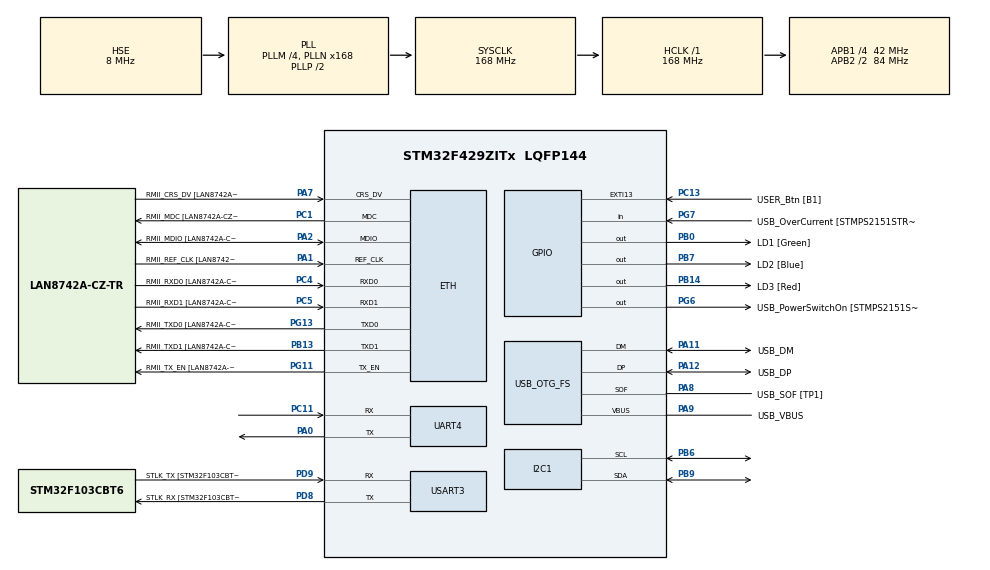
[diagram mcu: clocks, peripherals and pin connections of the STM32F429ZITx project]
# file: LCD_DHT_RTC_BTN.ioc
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ETH.MediaInterface=HAL_ETH_RMII_MODE
ETH.PHY_Name=LAN8742A_PHY_ADDRESS
ETH.PHY_Value=0
ETH.PhyAddress=0
FREERTOS.Tasks01=defaultTask,24,128,StartDefaultTask,Default,NULL,Dynamic,NULL,NULL
FREERTOS.configUSE_NEWLIB_REENTRANT=1
Mcu.Family=STM32F4
Mcu.Name=STM32F429ZITx
Mcu.Package=LQFP144
NVIC.EXTI15_10_IRQn=true\:6\:0\:true\:false\:true\:true\:true\:true\:true
NVIC.PriorityGroup=NVIC_PRIORITYGROUP_4
NVIC.TIM6_DAC_IRQn=true\:15\:0\:false\:false\:true\:false\:false\:true\:true
NVIC.TimeBase=TIM6_DAC_IRQn
NVIC.TimeBaseIP=TIM6
NVIC.UART4_IRQn=true\:5\:0\:false\:false\:true\:true\:true\:true\:true
PA0/WKUP.Mode=Asynchronous
PA0/WKUP.Signal=UART4_TX
PA1.GPIO_Label=RMII_REF_CLK [LAN8742A-CZ-TR_REFCLK0]
PA1.Mode=RMII
PA1.Signal=ETH_REF_CLK
PA10.GPIO_Label=USB_ID
PA10.Signal=USB_OTG_FS_ID
PA11.GPIO_Label=USB_DM
PA11.Mode=Device_Only
PA11.Signal=USB_OTG_FS_DM
PA12.GPIO_Label=USB_DP
PA12.Mode=Device_Only
PA12.Signal=USB_OTG_FS_DP
PA13.GPIO_Label=TMS
PA13.Mode=Serial_Wire
PA13.Signal=SYS_JTMS-SWDIO
PA14.GPIO_Label=TCK
PA14.Mode=Serial_Wire
PA14.Signal=SYS_JTCK-SWCLK
PA2.GPIO_Label=RMII_MDIO [LAN8742A-CZ-TR_MDIO]
PA2.Mode=RMII
PA2.Signal=ETH_MDIO
PA7.GPIO_Label=RMII_CRS_DV [LAN8742A-CZ-TR_CRS_DV]
PA7.Mode=RMII
PA7.Signal=ETH_CRS_DV
PA8.GPIO_Label=USB_SOF [TP1]
PA8.Mode=Activate_SOF_FS
PA8.Signal=USB_OTG_FS_SOF
PA9.GPIO_Label=USB_VBUS
PA9.Mode=Activate_VBUS
PA9.Signal=USB_OTG_FS_VBUS
PB0.GPIO_Label=LD1 [Green]
PB0.Signal=GPIO_Output
PB13.GPIO_Label=RMII_TXD1 [LAN8742A-CZ-TR_TXD1]
PB13.Mode=RMII
PB13.Signal=ETH_TXD1
PB14.GPIO_Label=LD3 [Red]
PB14.Signal=GPIO_Output
PB6.GPIO_Pu=GPIO_PULLUP
PB6.Mode=I2C
PB6.Signal=I2C1_SCL
PB7.GPIO_Label=LD2 [Blue]
PB7.Signal=GPIO_Output
PB9.GPIO_Pu=GPIO_PULLUP
PB9.Mode=I2C
PB9.Signal=I2C1_SDA
PC1.GPIO_Label=RMII_MDC [LAN8742A-CZ-TR_MDC]
PC1.Mode=RMII
PC1.Signal=ETH_MDC
PC11.Mode=Asynchronous
PC11.Signal=UART4_RX
PC13.GPIO_Label=USER_Btn [B1]
PC13.Signal=GPXTI13
PC14/OSC32_IN.Mode=LSE-External-Oscillator
PC14/OSC32_IN.Signal=RCC_OSC32_IN
PC15/OSC32_OUT.Mode=LSE-External-Oscillator
PC15/OSC32_OUT.Signal=RCC_OSC32_OUT
PC4.GPIO_Label=RMII_RXD0 [LAN8742A-CZ-TR_RXD0]
PC4.Mode=RMII
PC4.Signal=ETH_RXD0
PC5.GPIO_Label=RMII_RXD1 [LAN8742A-CZ-TR_RXD1]
PC5.Mode=RMII
PC5.Signal=ETH_RXD1
PD8.GPIO_Label=STLK_RX [STM32F103CBT6_PA3]
PD8.Mode=Asynchronous
PD8.Signal=USART3_TX
PD9.GPIO_Label=STLK_TX [STM32F103CBT6_PA2]
PD9.Mode=Asynchronous
PD9.Signal=USART3_RX
PG11.GPIO_Label=RMII_TX_EN [LAN8742A-CZ-TR_TXEN]
PG11.Mode=RMII
PG11.Signal=ETH_TX_EN
PG13.GPIO_Label=RMII_TXD0 [LAN8742A-CZ-TR_TXD0]
PG13.Mode=RMII
PG13.Signal=ETH_TXD0
PG6.GPIO_Label=USB_PowerSwitchOn [STMPS2151STR_EN]
PG6.Signal=GPIO_Output
PG7.GPIO_Label=USB_OverCurrent [STMPS2151STR_FAULT]
PG7.Signal=GPIO_Input
PH0/OSC_IN.GPIO_Label=MCO [STM32F103CBT6_PA8]
PH0/OSC_IN.Mode=HSE-External-Clock-Source
PH0/OSC_IN.Signal=RCC_OSC_IN
PH1/OSC_OUT.Mode=HSE-External-Clock-Source
PH1/OSC_OUT.Signal=RCC_OSC_OUT
ProjectManager.HeapSize=0x200
ProjectManager.StackSize=0x400
ProjectManager.TargetToolchain=STM32CubeIDE
RCC.48MHZClocksFreq_Value=48000000
RCC.AHBFreq_Value=168000000
RCC.APB1CLKDivider=RCC_HCLK_DIV4
RCC.APB1Freq_Value=42000000
RCC.APB1TimFreq_Value=84000000
RCC.APB2CLKDivider=RCC_HCLK_DIV2
RCC.APB2Freq_Value=84000000
RCC.APB2TimCLKDivider=2
RCC.APB2TimFreq_Value=168000000
RCC.CortexFreq_Value=168000000
RCC.HCLKFreq_Value=168000000
RCC.HSE_VALUE=8000000
RCC.HSI_VALUE=16000000
RCC.PLLM=4
RCC.PLLMUL=RCC_PLL_MUL9
RCC.PLLN=168
RCC.PLLQ=7
RCC.PRESCALERUSB=RCC_USBCLKSOURCE_PLL_DIV1_5
RCC.SYSCLKFreq_VALUE=168000000
RCC.SYSCLKSource=RCC_SYSCLKSOURCE_PLLCLK
RCC.SYSCLKSourceVirtual=RCC_SYSCLKSOURCE_PLLCLK
RCC.USBFreq_Value=48000000
RCC.VCOOutputFreq_Value=336000000
TIM10.Period=0xffff-1
TIM10.Prescaler=167
UART4.VirtualMode=Asynchronous
USART3.VirtualMode=VM_ASYNC
USB_OTG_FS.VirtualMode=Device_Only
VP_FREERTOS_VS_CMSIS_V2.Mode=CMSIS_V2
VP_RTC_VS_RTC_Activate.Mode=RTC_Enabled
VP_SYS_VS_tim6.Mode=TIM6
VP_TIM10_VS_ClockSourceINT.Mode=Enable_Timer
board=NUCLEO-F429ZI

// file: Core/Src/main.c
/* USER CODE BEGIN Header */
/**
  ******************************************************************************
  * @file           : main.c
  * @brief          : Main program body
  ******************************************************************************
  * @attention
  *
  * Copyright (c) 2023 STMicroelectronics.
  * All rights reserved.
  *
  * This software is licensed under terms that can be found in the LICENSE file
  * in the root directory of this software component.
  * If no LICENSE file comes with this software, it is provided AS-IS.
  *
  ******************************************************************************
  */
/* USER CODE END Header */
#include "main.h"
#include "string.h"
#include "cmsis_os.h"

ETH_TxPacketConfig TxConfig;
ETH_DMADescTypeDef  DMARxDscrTab[ETH_RX_DESC_CNT]; /* Ethernet Rx DMA Descriptors */
ETH_DMADescTypeDef  DMATxDscrTab[ETH_TX_DESC_CNT]; /* Ethernet Tx DMA Descriptors */

ETH_HandleTypeDef heth;

I2C_HandleTypeDef hi2c1;

RTC_HandleTypeDef hrtc;

TIM_HandleTypeDef htim10;

UART_HandleTypeDef huart4;
UART_HandleTypeDef huart3;

PCD_HandleTypeDef hpcd_USB_OTG_FS;

/* Definitions for defaultTask */
osThreadId_t defaultTaskHandle;
const osThreadAttr_t defaultTask_attributes = {
  .name = "defaultTask",
  .stack_size = 128 * 4,
  .priority = (osPriority_t) osPriorityNormal,
};

void SystemClock_Config(void);
static void MX_GPIO_Init(void);
static void MX_ETH_Init(void);
static void MX_USART3_UART_Init(void);
static void MX_USB_OTG_FS_PCD_Init(void);
static void MX_TIM10_Init(void);
static void MX_I2C1_Init(void);
static void MX_RTC_Init(void);
static void MX_UART4_Init(void);
void StartDefaultTask(void *argument);

/* USER CODE BEGIN PFP */
void dht_handler(void *parameter);
/* USER CODE END PFP */

/* USER CODE BEGIN 0 */
TaskHandle_t dht_task_handle;
/* USER CODE END 0 */

int main(void)
{
  /* USER CODE BEGIN 1 */
	BaseType_t status;
  /* USER CODE END 1 */

  /* MCU Configuration--------------------------------------------------------*/

  /* Reset of all peripherals, Initializes the Flash interface and the Systick. */
  HAL_Init();

  /* Configure the system clock */
  SystemClock_Config();

  /* Initialize all configured peripherals */
  MX_GPIO_Init();
  MX_ETH_Init();
  MX_USART3_UART_Init();
  MX_USB_OTG_FS_PCD_Init();
  MX_TIM10_Init();
  MX_I2C1_Init();
  MX_RTC_Init();
  MX_UART4_Init();
  /* USER CODE BEGIN 2 */
  HAL_TIM_Base_Start(&htim10); // us_timer start
  I2C_LCD_Init();	// lcd init
  /* USER CODE END 2 */

  /* Init scheduler */
  osKernelInitialize();

  /* Create the thread(s) */
  /* creation of defaultTask */
  defaultTaskHandle = osThreadNew(StartDefaultTask, NULL, &defaultTask_attributes);

  /* USER CODE BEGIN RTOS_THREADS */
  /* add threads, ... */
  status = xTaskCreate(dht_handler, "temphumi", 250, NULL, 2, &dht_task_handle);

  configASSERT(status == pdTRUE);
  /* USER CODE END RTOS_THREADS */

  /* Start scheduler */
  osKernelStart();

  /* We should never get here as control is now taken by the scheduler */
  /* Infinite loop */
  /* USER CODE BEGIN WHILE */
  //1. basically get dht22 data
  while (1)
  {
    /* USER CODE END WHILE */

  }
}

void SystemClock_Config(void)
{
  RCC_OscInitTypeDef RCC_OscInitStruct = {0};
  RCC_ClkInitTypeDef RCC_ClkInitStruct = {0};

  /** Configure the main internal regulator output voltage
  */
  __HAL_RCC_PWR_CLK_ENABLE();
  __HAL_PWR_VOLTAGESCALING_CONFIG(PWR_REGULATOR_VOLTAGE_SCALE1);

  /** Initializes the RCC Oscillators according to the specified parameters
  * in the RCC_OscInitTypeDef structure.
  */
  RCC_OscInitStruct.OscillatorType = RCC_OSCILLATORTYPE_LSI|RCC_OSCILLATORTYPE_HSE;
  RCC_OscInitStruct.HSEState = RCC_HSE_BYPASS;
  RCC_OscInitStruct.LSIState = RCC_LSI_ON;
  RCC_OscInitStruct.PLL.PLLState = RCC_PLL_ON;
  RCC_OscInitStruct.PLL.PLLSource = RCC_PLLSOURCE_HSE;
  RCC_OscInitStruct.PLL.PLLM = 4;
  RCC_OscInitStruct.PLL.PLLN = 168;
  RCC_OscInitStruct.PLL.PLLP = RCC_PLLP_DIV2;
  RCC_OscInitStruct.PLL.PLLQ = 7;
  if (HAL_RCC_OscConfig(&RCC_OscInitStruct) != HAL_OK)
  {
    Error_Handler();
  }

  /** Initializes the CPU, AHB and APB buses clocks
  */
  RCC_ClkInitStruct.ClockType = RCC_CLOCKTYPE_HCLK|RCC_CLOCKTYPE_SYSCLK
                              |RCC_CLOCKTYPE_PCLK1|RCC_CLOCKTYPE_PCLK2;
  RCC_ClkInitStruct.SYSCLKSource = RCC_SYSCLKSOURCE_PLLCLK;
  RCC_ClkInitStruct.AHBCLKDivider = RCC_SYSCLK_DIV1;
  RCC_ClkInitStruct.APB1CLKDivider = RCC_HCLK_DIV4;
  RCC_ClkInitStruct.APB2CLKDivider = RCC_HCLK_DIV2;

  if (HAL_RCC_ClockConfig(&RCC_ClkInitStruct, FLASH_LATENCY_5) != HAL_OK)
  {
    Error_Handler();
  }
}

static void MX_ETH_Init(void)
{

   static uint8_t MACAddr[6];

  heth.Instance = ETH;
  MACAddr[0] = 0x00;
  MACAddr[1] = 0x80;
  MACAddr[2] = 0xE1;
  MACAddr[3] = 0x00;
  MACAddr[4] = 0x00;
  MACAddr[5] = 0x00;
  heth.Init.MACAddr = &MACAddr[0];
  heth.Init.MediaInterface = HAL_ETH_RMII_MODE;
  heth.Init.TxDesc = DMATxDscrTab;
  heth.Init.RxDesc = DMARxDscrTab;
  heth.Init.RxBuffLen = 1524;

  if (HAL_ETH_Init(&heth) != HAL_OK)
  {
    Error_Handler();
  }

  memset(&TxConfig, 0 , sizeof(ETH_TxPacketConfig));
  TxConfig.Attributes = ETH_TX_PACKETS_FEATURES_CSUM | ETH_TX_PACKETS_FEATURES_CRCPAD;
  TxConfig.ChecksumCtrl = ETH_CHECKSUM_IPHDR_PAYLOAD_INSERT_PHDR_CALC;
  TxConfig.CRCPadCtrl = ETH_CRC_PAD_INSERT;

}

static void MX_I2C1_Init(void)
{

  hi2c1.Instance = I2C1;
  hi2c1.Init.ClockSpeed = 100000;
  hi2c1.Init.DutyCycle = I2C_DUTYCYCLE_2;
  hi2c1.Init.OwnAddress1 = 0;
  hi2c1.Init.AddressingMode = I2C_ADDRESSINGMODE_7BIT;
  hi2c1.Init.DualAddressMode = I2C_DUALADDRESS_DISABLE;
  hi2c1.Init.OwnAddress2 = 0;
  hi2c1.Init.GeneralCallMode = I2C_GENERALCALL_DISABLE;
  hi2c1.Init.NoStretchMode = I2C_NOSTRETCH_DISABLE;
  if (HAL_I2C_Init(&hi2c1) != HAL_OK)
  {
    Error_Handler();
  }

  /** Configure Analogue filter
  */
  if (HAL_I2CEx_ConfigAnalogFilter(&hi2c1, I2C_ANALOGFILTER_ENABLE) != HAL_OK)
  {
    Error_Handler();
  }

  /** Configure Digital filter
  */
  if (HAL_I2CEx_ConfigDigitalFilter(&hi2c1, 0) != HAL_OK)
  {
    Error_Handler();
  }

}

static void MX_RTC_Init(void)
{

  /** Initialize RTC Only
  */
  hrtc.Instance = RTC;
  hrtc.Init.HourFormat = RTC_HOURFORMAT_24;
  hrtc.Init.AsynchPrediv = 127;
  hrtc.Init.SynchPrediv = 255;
  hrtc.Init.OutPut = RTC_OUTPUT_DISABLE;
  hrtc.Init.OutPutPolarity = RTC_OUTPUT_POLARITY_HIGH;
  hrtc.Init.OutPutType = RTC_OUTPUT_TYPE_OPENDRAIN;
  if (HAL_RTC_Init(&hrtc) != HAL_OK)
  {
    Error_Handler();
  }

}

static void MX_TIM10_Init(void)
{

  htim10.Instance = TIM10;
  htim10.Init.Prescaler = 167;
  htim10.Init.CounterMode = TIM_COUNTERMODE_UP;
  htim10.Init.Period = 0xffff-1;
  htim10.Init.ClockDivision = TIM_CLOCKDIVISION_DIV1;
  htim10.Init.AutoReloadPreload = TIM_AUTORELOAD_PRELOAD_DISABLE;
  if (HAL_TIM_Base_Init(&htim10) != HAL_OK)
  {
    Error_Handler();
  }

}

static void MX_UART4_Init(void)
{

  huart4.Instance = UART4;
  huart4.Init.BaudRate = 115200;
  huart4.Init.WordLength = UART_WORDLENGTH_8B;
  huart4.Init.StopBits = UART_STOPBITS_1;
  huart4.Init.Parity = UART_PARITY_NONE;
  huart4.Init.Mode = UART_MODE_TX_RX;
  huart4.Init.HwFlowCtl = UART_HWCONTROL_NONE;
  huart4.Init.OverSampling = UART_OVERSAMPLING_16;
  if (HAL_UART_Init(&huart4) != HAL_OK)
  {
    Error_Handler();
  }

}

static void MX_USART3_UART_Init(void)
{

  huart3.Instance = USART3;
  huart3.Init.BaudRate = 115200;
  huart3.Init.WordLength = UART_WORDLENGTH_8B;
  huart3.Init.StopBits = UART_STOPBITS_1;
  huart3.Init.Parity = UART_PARITY_NONE;
  huart3.Init.Mode = UART_MODE_TX_RX;
  huart3.Init.HwFlowCtl = UART_HWCONTROL_NONE;
  huart3.Init.OverSampling = UART_OVERSAMPLING_16;
  if (HAL_UART_Init(&huart3) != HAL_OK)
  {
    Error_Handler();
  }

}

static void MX_USB_OTG_FS_PCD_Init(void)
{

  hpcd_USB_OTG_FS.Instance = USB_OTG_FS;
  hpcd_USB_OTG_FS.Init.dev_endpoints = 4;
  hpcd_USB_OTG_FS.Init.speed = PCD_SPEED_FULL;
  hpcd_USB_OTG_FS.Init.dma_enable = DISABLE;
  hpcd_USB_OTG_FS.Init.phy_itface = PCD_PHY_EMBEDDED;
  hpcd_USB_OTG_FS.Init.Sof_enable = ENABLE;
  hpcd_USB_OTG_FS.Init.low_power_enable = DISABLE;
  hpcd_USB_OTG_FS.Init.lpm_enable = DISABLE;
  hpcd_USB_OTG_FS.Init.vbus_sensing_enable = ENABLE;
  hpcd_USB_OTG_FS.Init.use_dedicated_ep1 = DISABLE;
  if (HAL_PCD_Init(&hpcd_USB_OTG_FS) != HAL_OK)
  {
    Error_Handler();
  }

}

static void MX_GPIO_Init(void)
{
  GPIO_InitTypeDef GPIO_InitStruct = {0};

  /* GPIO Ports Clock Enable */
  __HAL_RCC_GPIOC_CLK_ENABLE();
  __HAL_RCC_GPIOH_CLK_ENABLE();
  __HAL_RCC_GPIOA_CLK_ENABLE();
  __HAL_RCC_GPIOB_CLK_ENABLE();
  __HAL_RCC_GPIOD_CLK_ENABLE();
  __HAL_RCC_GPIOG_CLK_ENABLE();

  /*Configure GPIO pin Output Level */
  HAL_GPIO_WritePin(GPIOB, LD1_Pin|LD3_Pin|LD2_Pin, GPIO_PIN_RESET);

  /*Configure GPIO pin Output Level */
  HAL_GPIO_WritePin(USB_PowerSwitchOn_GPIO_Port, USB_PowerSwitchOn_Pin, GPIO_PIN_RESET);

  /*Configure GPIO pin : USER_Btn_Pin */
  GPIO_InitStruct.Pin = USER_Btn_Pin;
  GPIO_InitStruct.Mode = GPIO_MODE_IT_RISING;
  GPIO_InitStruct.Pull = GPIO_NOPULL;
  HAL_GPIO_Init(USER_Btn_GPIO_Port, &GPIO_InitStruct);

  /*Configure GPIO pins : LD1_Pin LD3_Pin LD2_Pin */
  GPIO_InitStruct.Pin = LD1_Pin|LD3_Pin|LD2_Pin;
  GPIO_InitStruct.Mode = GPIO_MODE_OUTPUT_PP;
  GPIO_InitStruct.Pull = GPIO_NOPULL;
  GPIO_InitStruct.Speed = GPIO_SPEED_FREQ_LOW;
  HAL_GPIO_Init(GPIOB, &GPIO_InitStruct);

  /*Configure GPIO pin : USB_PowerSwitchOn_Pin */
  GPIO_InitStruct.Pin = USB_PowerSwitchOn_Pin;
  GPIO_InitStruct.Mode = GPIO_MODE_OUTPUT_PP;
  GPIO_InitStruct.Pull = GPIO_NOPULL;
  GPIO_InitStruct.Speed = GPIO_SPEED_FREQ_LOW;
  HAL_GPIO_Init(USB_PowerSwitchOn_GPIO_Port, &GPIO_InitStruct);

  /*Configure GPIO pin : USB_OverCurrent_Pin */
  GPIO_InitStruct.Pin = USB_OverCurrent_Pin;
  GPIO_InitStruct.Mode = GPIO_MODE_INPUT;
  GPIO_InitStruct.Pull = GPIO_NOPULL;
  HAL_GPIO_Init(USB_OverCurrent_GPIO_Port, &GPIO_InitStruct);

  /* EXTI interrupt init*/
  HAL_NVIC_SetPriority(EXTI15_10_IRQn, 6, 0);
  HAL_NVIC_EnableIRQ(EXTI15_10_IRQn);

}

/* USER CODE BEGIN 4 */

//us delay func
void delay_us(uint32_t number)
{
	__HAL_TIM_SET_COUNTER(&htim10,0);

	while(__HAL_TIM_GET_COUNTER(&htim10) < number);
}

//basically print dht data
void dht_handler(void *parameter)
{
	while(1)
	{
		//portENTER_CRITICAL();
		getTemp();
		//portEXIT_CRITICAL();
		vTaskDelay(pdMS_TO_TICKS(1000));
		vTaskDelay(pdMS_TO_TICKS(1000));
		lcd_display_clear();
	}
}

//if press btn -> print current time/date
void btn_rtc_print_interrupt(void)
{
	print_rtc();
	osDelay(pdMS_TO_TICKS(1000));
}
/* USER CODE END 4 */

void StartDefaultTask(void *argument)
{
  for(;;)
  {
    osDelay(1);
  }
}

void HAL_TIM_PeriodElapsedCallback(TIM_HandleTypeDef *htim)
{
  if (htim->Instance == TIM6) {
    HAL_IncTick();
  }
}

void Error_Handler(void)
{
  __disable_irq();
  while (1)
  {
  }
}
